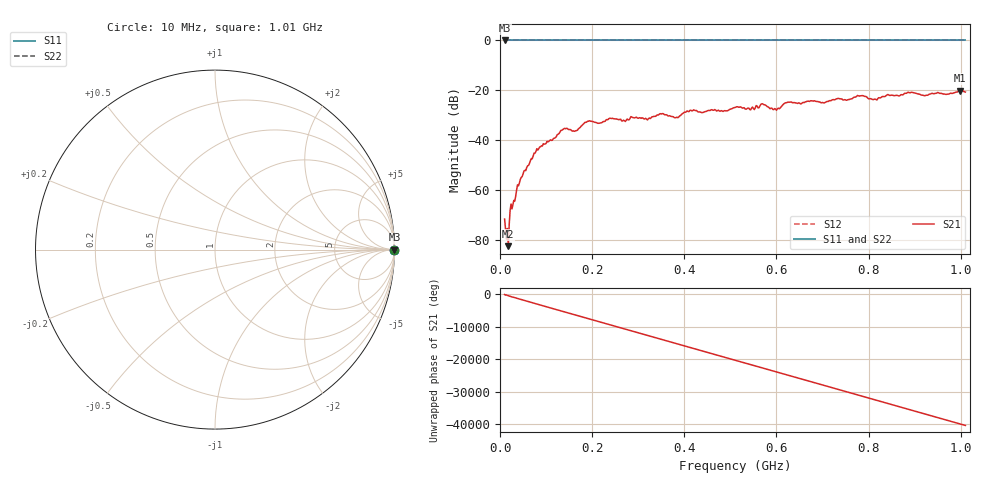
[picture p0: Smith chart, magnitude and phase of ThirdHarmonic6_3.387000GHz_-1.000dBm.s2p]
! 8/17/2025 10:47:05 AM
! C:\ANRITSUVNA\TEMP\TEMP.S2P
! CHANNEL.1
! TR.MEASUREMENT
! RAW.DATA
! RF.CORRECTION.OFF
! AVERAGING.OFF
! IF.BANDWIDTH: 5KHZ
! SWEEPTYPE:  FREQ.SWEEP(Linear)
! Reference Plane Port Info
! PORT:  PORT1  PORT2
! DISTANCE:  0  m  0  m
! TIME:  0  s  0  s
! PHASE.OFFSET:  0  deg.  0  deg.
! LOSS:  0  dB  0  dB
! REF.LOSS:  0  dB  0  dB
! REF.FREQ:  0  Hz  0  Hz
! Power Info
! POWER:  -20  dBm  -20  dBm
! EFF.POWER:  -20  dBm  -20  dBm
! SOURCE.ATTEN:  0  dB  0  dB
! TEST.ATTEN:  0  dB  0  dB
# GHZ S RI R 50.0
! FREQ.GHZ  S11RE  S11IM  S21RE  S21IM  S12RE  S12IM  S22RE  S22IM
!; PortSelection: Port_12
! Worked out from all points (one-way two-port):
!   501 points, 10 MHz to 1.01 GHz, reference 50 ohm
!   highest |S21| = -20.04 dB at 998 MHz (marker M1); lowest = -82.3 dB at 18 MHz (marker M2)
!   lowest |S11| = 0.0 dB at 10 MHz (marker M3)
!   |S11| at or under -10 dB: nowhere
!   |S22| runs from 0.0 to 0.0 dB; largest |S21 - S12| = 1.1
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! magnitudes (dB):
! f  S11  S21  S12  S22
! 10 MHz  0.0  -71.5  0.0  0.0
! 16 MHz  0.0  -75.2  0.0  0.0
! 18 MHz  0.0  -82.3  0.0  0.0
! 26 MHz  0.0  -67.4  0.0  0.0
! 40 MHz  0.0  -58.2  0.0  0.0
! 76 MHz  0.0  -45.1  0.0  0.0
! 136 MHz  0.0  -35.7  0.0  0.0
! 164 MHz  0.0  -36.2  0.0  0.0
! 178 MHz  0.0  -34.0  0.0  0.0
! 344 MHz  0.0  -29.8  0.0  0.0
! 382 MHz  0.0  -30.9  0.0  0.0
! 416 MHz  0.0  -28.1  0.0  0.0
! 510 MHz  0.0  -26.8  0.0  0.0
! 570 MHz  0.0  -25.4  0.0  0.0
! 596 MHz  0.0  -27.3  0.0  0.0
! 624 MHz  0.0  -24.7  0.0  0.0
! 678 MHz  0.0  -24.2  0.0  0.0
! 780 MHz  0.0  -22.2  0.0  0.0
! 814 MHz  0.0  -23.5  0.0  0.0
! 844 MHz  0.0  -21.9  0.0  0.0
! 998 MHz  0.0  -20.0  0.0  0.0
! 1.01 GHz  0.0  -20.6  0.0  0.0
